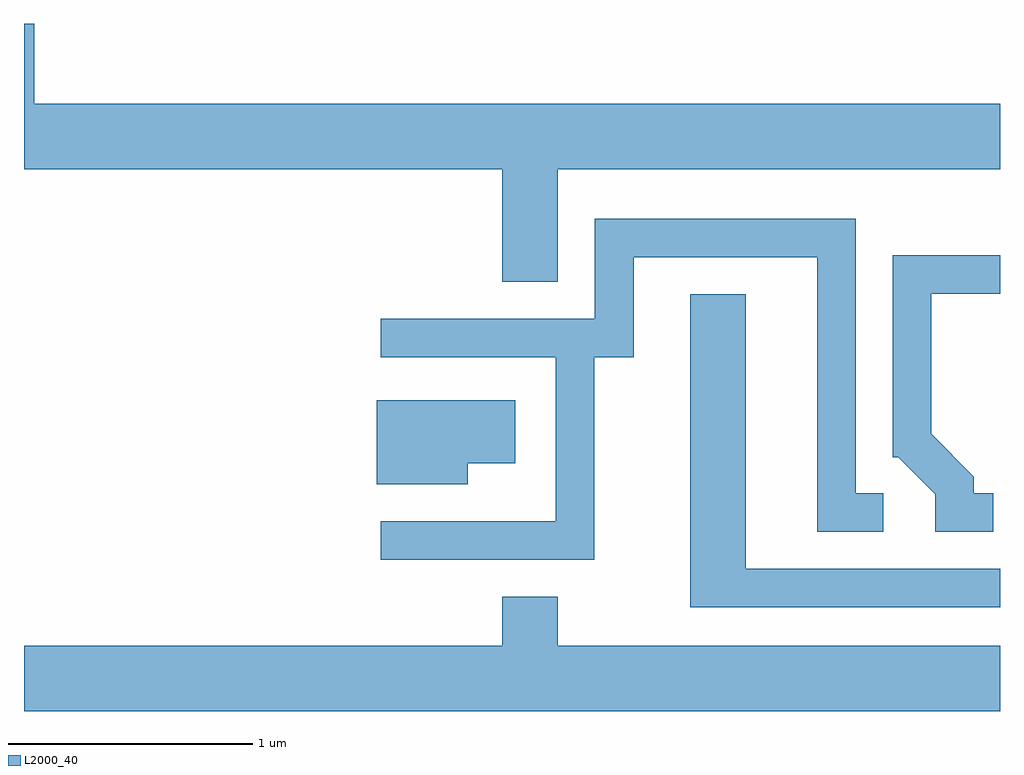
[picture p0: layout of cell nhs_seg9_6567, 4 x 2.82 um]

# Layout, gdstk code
import gdstk
lib = gdstk.Library(unit=1e-6, precision=1e-09)
def P(c, l, *ps):  # polygons
    for p in ps: c.add(gdstk.Polygon(p, *l))
L2000_40 = (2000, 40)

nhs_seg9_6567 = lib.new_cell('nhs_seg9_6567')
P(nhs_seg9_6567, L2000_40, [(381.799,1971.836),(383.611,1971.836),(383.611,1972.104),(379.654,1972.104),(379.654,1972.432),(379.611,1972.432),(379.611,1971.836),(381.571,1971.836),(381.571,1971.376),(381.799,1971.376)],
  [(381.949,1971.066),(382.109,1971.066),(382.109,1971.476),(382.861,1971.476),(382.861,1970.351),(383.133,1970.351),(383.133,1970.509),(383.019,1970.509),(383.019,1971.634),(381.951,1971.634),(381.951,1971.224),(381.073,1971.224),(381.073,1971.066),(381.791,1971.066),(381.791,1970.394),(381.073,1970.394),(381.073,1970.236),(381.949,1970.236)],
  [(383.583,1970.509),(383.504,1970.509),(383.504,1970.577),(383.329,1970.752),(383.329,1971.326),(383.611,1971.326),(383.611,1971.484),(383.171,1971.484),(383.171,1970.656),(383.194,1970.656),(383.346,1970.504),(383.346,1970.351),(383.583,1970.351)],
  [(383.611,1970.199),(382.569,1970.199),(382.569,1971.324),(382.341,1971.324),(382.341,1970.041),(383.611,1970.041)],
  [(381.429,1970.631),(381.624,1970.631),(381.624,1970.889),(381.056,1970.889),(381.056,1970.546),(381.429,1970.546)],
  [(383.611,1969.884),(381.799,1969.884),(381.799,1970.084),(381.571,1970.084),(381.571,1969.884),(379.611,1969.884),(379.611,1969.616),(383.611,1969.616)])

lib.write_gds('nhs_seg9_6567.gds')
